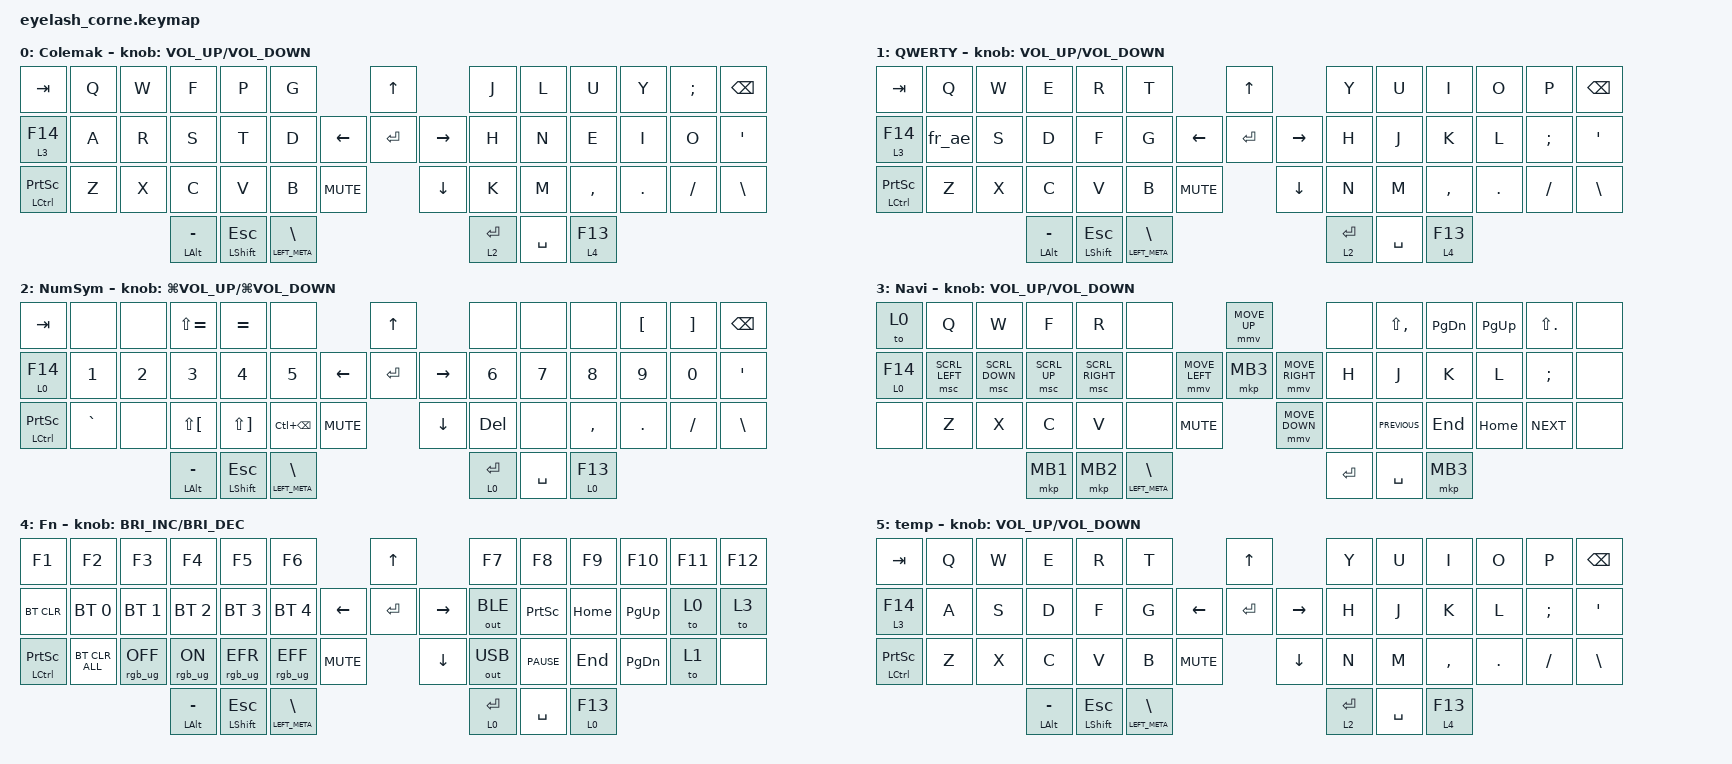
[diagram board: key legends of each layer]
#include <dt-bindings/zmk/mouse.h>
#include <input/processors.dtsi>
#include <behaviors.dtsi>
#include <dt-bindings/zmk/bt.h>
#include <dt-bindings/zmk/keys.h>
#include <dt-bindings/zmk/outputs.h>
#include <dt-bindings/zmk/pointing.h>
#include <dt-bindings/zmk/pointing.h>
#include <dt-bindings/zmk/pointing.h>
#include <dt-bindings/zmk/rgb.h>

#include "zmk-helpers/helper.h"
#include "zmk-helpers/unicode-chars/french.dtsi"
/*

   &mmv_input_listener {
       input-processors = <&zip_xy_scaler 2 1>;
   };

   &msc_input_listener {
       input-processors = <&zip_xy_scaler 2 1>;
   };

 */
#define ZMK_MOUSE_DEFAULT_MOVE_VAL 1200  // 600
#define ZMK_MOUSE_DEFAULT_SCRL_VAL 20    // 10

/ {
    behaviors {
        td0: td0 {
            compatible = "zmk,behavior-tap-dance";
            display-name = "Shift/Caps Lock Tap Dance";
            #binding-cells = <0>;
            bindings = <&kp LEFT_SHIFT>, <&kp CAPS>;
        };

        test: test {
            compatible = "zmk,behavior-mod-morph";
            label = "TEST";
            bindings = <&kp A>, <&kp F>;

            #binding-cells = <0>;
            mods = <(MOD_LALT)>;
        };
    };

    rgb_encoder: rgb_encoder {
        compatible = "zmk,behavior-sensor-rotate";
        #sensor-binding-cells = <0>;
        bindings = <&rgb_ug RGB_BRI>, <&rgb_ug RGB_BRD>;
    };

    scroll_encoder: scroll_encoder {
        compatible = "zmk,behavior-sensor-rotate";
        #sensor-binding-cells = <0>;
        bindings = <&msc SCRL_DOWN>, <&msc SCRL_UP>;

        tap-ms = <30>;
    };

    keymap {
        compatible = "zmk,keymap";

        layer_0 {
            display-name = "Colemak";
            bindings = <
&kp TAB                &kp Q  &kp W  &kp F               &kp P                  &kp G                                            &kp UP                &kp J        &kp L      &kp U      &kp Y    &kp SEMICOLON  &kp BSPC
&lt 3 F14              &kp A  &kp R  &kp S               &kp T                  &kp D                                  &kp LEFT  &kp ENTER  &kp RIGHT  &kp H        &kp N      &kp E      &kp I    &kp O          &kp SQT
&mt LCTRL PRINTSCREEN  &kp Z  &kp X  &kp C               &kp V                  &kp B                    &kp K_MUTE              &kp DOWN              &kp K        &kp M      &kp COMMA  &kp DOT  &kp FSLH       &kp BACKSLASH
                                     &mt LEFT_ALT MINUS  &mt LEFT_SHIFT ESCAPE  &mt LEFT_META BACKSLASH                                                &lt 2 ENTER  &kp SPACE  &lt 4 F13
            >;

            sensor-bindings = <&inc_dec_kp C_VOLUME_UP C_VOLUME_DOWN>;
        };

        layer_1 {
            display-name = "QWERTY";
            bindings = <
&kp TAB                &kp Q  &kp W  &kp E               &kp R                  &kp T                                            &kp UP                &kp Y        &kp U      &kp I      &kp O    &kp P     &kp BSPC
&lt 3 F14              &fr_ae  &kp S  &kp D               &kp F                  &kp G                                  &kp LEFT  &kp ENTER  &kp RIGHT  &kp H        &kp J      &kp K      &kp L    &kp SEMI  &kp SQT
&mt LCTRL PRINTSCREEN  &kp Z  &kp X  &kp C               &kp V                  &kp B                    &kp K_MUTE              &kp DOWN              &kp N        &kp M      &kp COMMA  &kp DOT  &kp FSLH  &kp BACKSLASH
                                     &mt LEFT_ALT MINUS  &mt LEFT_SHIFT ESCAPE  &mt LEFT_META BACKSLASH                                                &lt 2 ENTER  &kp SPACE  &lt 4 F13
            >;

            sensor-bindings = <&inc_dec_kp C_VOLUME_UP C_VOLUME_DOWN>;
        };

        layer_2 {
            display-name = "NumSym";
            bindings = <
&kp TAB                &none      &none   &kp LS(EQUAL)         &kp EQUAL              &none                                            &kp UP                &none        &none      &none      &kp LEFT_BRACKET  &kp RIGHT_BRACKET  &kp BSPC
&lt 0 F14              &kp N1     &kp N2  &kp N3                &kp N4                 &kp N5                                 &kp LEFT  &kp ENTER  &kp RIGHT  &kp N6       &kp N7     &kp N8     &kp N9            &kp N0             &kp SQT
&mt LCTRL PRINTSCREEN  &kp GRAVE  &none   &kp LS(LEFT_BRACKET)  &kp LS(RIGHT_BRACKET)  &kp LC(BACKSPACE)        &kp K_MUTE              &kp DOWN              &kp DELETE   &none      &kp COMMA  &kp DOT           &kp FSLH           &kp BACKSLASH
                                          &mt LEFT_ALT MINUS    &mt LEFT_SHIFT ESCAPE  &mt LEFT_META BACKSLASH                                                &lt 0 ENTER  &kp SPACE  &lt 0 F13
            >;

            sensor-bindings = <&inc_dec_kp LG(C_VOLUME_UP) LG(C_VOLUME_DOWN)>;
        };

        layer_3 {
            display-name = "Navi";
            bindings = <
&to 0      &kp Q           &kp W           &kp F         &kp R            &none                                                  &mmv MOVE_UP                     &none      &kp LS(COMMA)   &kp PAGE_DOWN  &kp PAGE_UP  &kp LS(PERIOD)  &none
&lt 0 F14  &msc SCRL_LEFT  &msc SCRL_DOWN  &msc SCRL_UP  &msc SCRL_RIGHT  &none                                  &mmv MOVE_LEFT  &mkp MB3        &mmv MOVE_RIGHT  &kp H      &kp J           &kp K          &kp L        &kp SEMI        &none
&none      &kp Z           &kp X           &kp C         &kp V            &none                    &kp K_MUTE                    &mmv MOVE_DOWN                   &none      &kp C_PREVIOUS  &kp END        &kp HOME     &kp C_NEXT      &none
                                           &mkp MB1      &mkp MB2         &mt LEFT_META BACKSLASH                                                                 &kp ENTER  &kp SPACE       &mkp MB3
            >;

            sensor-bindings = <&inc_dec_kp C_VOLUME_UP C_VOLUME_DOWN>;
        };

        layer_4 {
            display-name = "Fn";
            bindings = <
&kp F1                 &kp F2          &kp F3           &kp F4              &kp F5                 &kp F6                                           &kp UP                &kp F7        &kp F8           &kp F9     &kp F10        &kp F11  &kp F12
&bt BT_CLR             &bt BT_SEL 0    &bt BT_SEL 1     &bt BT_SEL 2        &bt BT_SEL 3           &bt BT_SEL 4                           &kp LEFT  &kp ENTER  &kp RIGHT  &out OUT_BLE  &kp PRINTSCREEN  &kp HOME   &kp PAGE_UP    &to 0    &to 3
&mt LCTRL PRINTSCREEN  &bt BT_CLR_ALL  &rgb_ug RGB_OFF  &rgb_ug RGB_ON      &rgb_ug RGB_EFR        &rgb_ug RGB_EFF          &kp K_MUTE              &kp DOWN              &out OUT_USB  &kp C_PAUSE      &kp END    &kp PAGE_DOWN  &to 1    &none
                                                        &mt LEFT_ALT MINUS  &mt LEFT_SHIFT ESCAPE  &mt LEFT_META BACKSLASH                                                &lt 0 ENTER   &kp SPACE        &lt 0 F13
            >;

            sensor-bindings = <&inc_dec_kp C_BRIGHTNESS_INC C_BRIGHTNESS_DEC>;
        };

        layer_5 {
            display-name = "temp";
            bindings = <
&kp TAB                &kp Q  &kp W  &kp E               &kp R                  &kp T                                            &kp UP                &kp Y        &kp U      &kp I      &kp O    &kp P     &kp BSPC
&lt 3 F14              &kp A  &kp S  &kp D               &kp F                  &kp G                                  &kp LEFT  &kp ENTER  &kp RIGHT  &kp H        &kp J      &kp K      &kp L    &kp SEMI  &kp SQT
&mt LCTRL PRINTSCREEN  &kp Z  &kp X  &kp C               &kp V                  &kp B                    &kp K_MUTE              &kp DOWN              &kp N        &kp M      &kp COMMA  &kp DOT  &kp FSLH  &kp BACKSLASH
                                     &mt LEFT_ALT MINUS  &mt LEFT_SHIFT ESCAPE  &mt LEFT_META BACKSLASH                                                &lt 2 ENTER  &kp SPACE  &lt 4 F13
            >;

            sensor-bindings = <&inc_dec_kp C_VOLUME_UP C_VOLUME_DOWN>;
        };
    };
};

